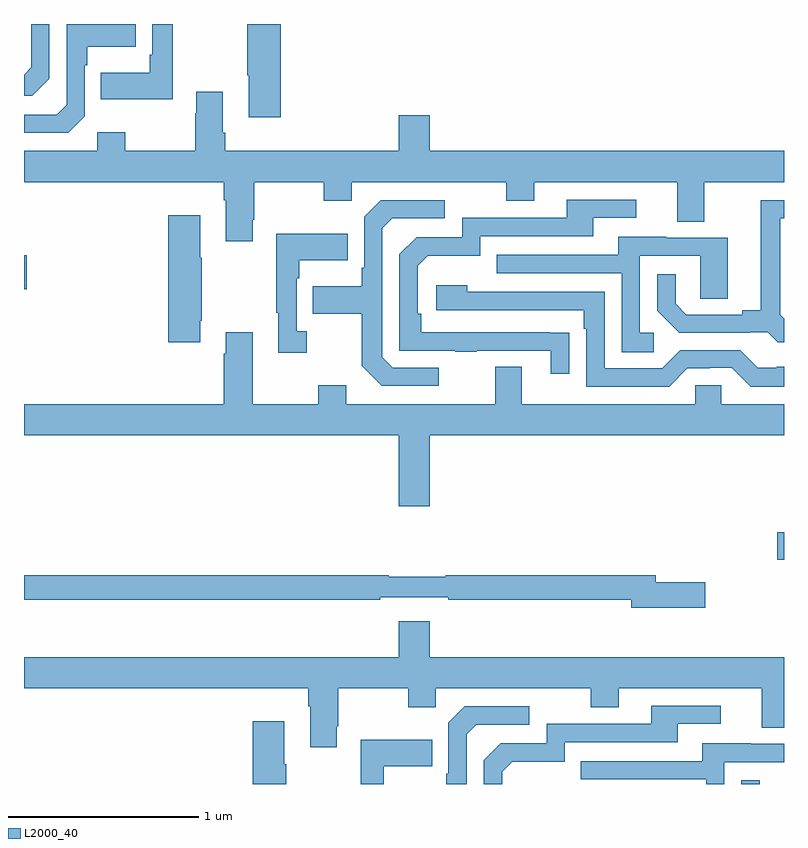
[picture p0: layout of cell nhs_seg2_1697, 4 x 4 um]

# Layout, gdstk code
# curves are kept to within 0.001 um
import gdstk
lib = gdstk.Library(unit=1e-6, precision=1e-09)
def R(c, l, rs):  # rectangles x0, y0, x1, y1
    for r in rs: c.add(gdstk.rectangle(r[:2], r[2:], *l))
def P(c, l, *ps):  # polygons
    for p in ps: c.add(gdstk.Polygon(p, *l))
L2000_40 = (2000, 40)

nhs_seg2_1697 = lib.new_cell('nhs_seg2_1697')
R(nhs_seg2_1697, L2000_40, [(202.776,645.8,202.873,645.82), (202.965,646.979,203,647.126), (199,648.404,199.015,648.582)])
P(nhs_seg2_1697, L2000_40, [(200.351,649.8),(200.176,649.8),(200.176,649.531),(200.183,649.531),(200.183,649.308),(200.351,649.308)],
  [(199.32,649.314),(199.32,649.583),(199.333,649.583),(199.333,649.679),(199.589,649.679),(199.589,649.8),(199.224,649.8),(199.224,649.374),(199.173,649.323),(199,649.323),(199,649.227),(199.233,649.227)],
  [(199.783,649.8),(199.674,649.8),(199.674,649.639),(199.662,649.639),(199.662,649.543),(199.405,649.543),(199.405,649.403),(199.783,649.403)],
  [(199.134,649.512),(199.134,649.8),(199.038,649.8),(199.038,649.572),(199,649.534),(199,649.422),(199.044,649.422)],
  [(200.203,648.769),(200.211,648.769),(200.211,648.968),(200.578,648.968),(200.578,648.869),(200.724,648.869),(200.724,648.968),(201.538,648.968),(201.538,648.869),(201.685,648.869),(201.685,648.968),(202.439,648.968),(202.439,648.76),(202.579,648.76),(202.579,648.968),(203,648.968),(203,649.132),(201.136,649.132),(201.136,649.321),(200.972,649.321),(200.972,649.132),(200.06,649.132),(200.06,649.228),(200.047,649.228),(200.047,649.444),(199.907,649.444),(199.907,649.331),(199.9,649.331),(199.9,649.132),(199.533,649.132),(199.533,649.231),(199.386,649.231),(199.386,649.132),(199,649.132),(199,648.968),(200.051,648.968),(200.051,648.872),(200.063,648.872),(200.063,648.657),(200.203,648.657)],
  [(201.869,648.176),(201.092,648.177),(201.092,648.274),(201.072,648.274),(201.072,648.528),(201.125,648.581),(201.402,648.581),(201.402,648.684),(201.997,648.684),(201.997,648.78),(202.222,648.78),(202.222,648.876),(201.857,648.876),(201.857,648.78),(201.306,648.78),(201.306,648.678),(201.066,648.678),(200.976,648.588),(200.976,648.081),(201.271,648.081),(201.271,648.076),(201.383,648.076),(201.383,648.081),(201.773,648.081),(201.773,647.958),(201.869,647.958)],
  [(201.184,647.991),(200.94,647.991),(200.886,648.045),(200.886,648.726),(200.937,648.777),(201.214,648.777),(201.214,648.873),(200.877,648.873),(200.79,648.786),(200.79,648.517),(200.778,648.517),(200.778,648.421),(200.521,648.421),(200.521,648.274),(200.778,648.274),(200.778,648.001),(200.883,647.895),(201.184,647.895)],
  [(203,648.25),(202.981,648.269),(202.981,648.777),(203,648.777),(203,648.873),(202.877,648.873),(202.877,648.293),(202.781,648.293),(202.781,648.27),(202.486,648.27),(202.429,648.327),(202.429,648.484),(202.332,648.484),(202.332,648.29),(202.448,648.174),(202.82,648.174),(202.82,648.177),(202.914,648.177),(202.966,648.125),(203,648.125)],
  [(199.927,648.238),(199.935,648.238),(199.935,648.569),(199.927,648.569),(199.927,648.793),(199.76,648.793),(199.76,648.126),(199.927,648.126)],
  [(200.488,648.182),(200.436,648.182),(200.436,648.461),(200.449,648.461),(200.449,648.557),(200.705,648.557),(200.705,648.697),(200.328,648.697),(200.328,648.281),(200.339,648.281),(200.339,648.069),(200.488,648.069)],
  [(202.315,648.174),(202.242,648.174),(202.242,648.579),(202.56,648.579),(202.56,648.355),(202.705,648.355),(202.705,648.675),(202.381,648.675),(202.381,648.679),(202.127,648.679),(202.127,648.585),(201.487,648.585),(201.487,648.489),(202.146,648.489),(202.146,648.073),(202.315,648.073)],
  [(203,647.995),(202.963,647.995),(202.963,647.991),(202.863,647.991),(202.77,648.084),(202.455,648.084),(202.359,647.988),(202.056,647.988),(202.056,648.39),(201.332,648.39),(201.332,648.424),(201.171,648.424),(201.171,648.294),(201.947,648.294),(201.947,648.197),(201.96,648.197),(201.96,647.892),(202.395,647.892),(202.491,647.988),(202.61,647.988),(202.61,647.991),(202.725,647.991),(202.825,647.891),(203,647.891)],
  [(202.533,647.898),(202.533,647.8),(201.619,647.8),(201.619,647.995),(201.479,647.995),(201.479,647.8),(200.695,647.8),(200.695,647.899),(200.548,647.899),(200.548,647.8),(200.203,647.8),(200.203,648.178),(200.063,648.178),(200.063,648.065),(200.051,648.065),(200.051,647.8),(199,647.8),(199,647.636),(200.972,647.636),(200.972,647.262),(201.136,647.262),(201.136,647.636),(203,647.636),(203,647.8),(202.671,647.8),(202.671,647.898)],
  [(202.585,646.862),(202.324,646.862),(202.324,646.898),(201.22,646.898),(201.22,646.891),(200.92,646.891),(200.92,646.898),(199,646.898),(199,646.77),(200.876,646.77),(200.876,646.782),(201.232,646.782),(201.232,646.77),(202.196,646.77),(202.196,646.727),(202.585,646.727)],
  [(201.136,646.657),(200.972,646.657),(200.972,646.468),(199,646.468),(199,646.304),(200.495,646.304),(200.495,646.208),(200.507,646.208),(200.507,645.993),(200.647,645.993),(200.647,646.105),(200.655,646.105),(200.655,646.304),(201.022,646.304),(201.022,646.205),(201.168,646.205),(201.168,646.304),(201.982,646.304),(201.982,646.205),(202.129,646.205),(202.129,646.304),(202.883,646.304),(202.883,646.096),(203,646.096),(203,646.468),(201.136,646.468)],
  [(201.516,645.864),(201.569,645.917),(201.846,645.917),(201.846,646.02),(202.441,646.02),(202.441,646.116),(202.666,646.116),(202.666,646.212),(202.301,646.212),(202.301,646.116),(201.75,646.116),(201.75,646.014),(201.51,646.014),(201.42,645.924),(201.42,645.8),(201.516,645.8)],
  [(201.33,646.062),(201.381,646.113),(201.658,646.113),(201.658,646.209),(201.321,646.209),(201.234,646.122),(201.234,645.853),(201.222,645.853),(201.222,645.8),(201.33,645.8)],
  [(200.379,645.905),(200.371,645.905),(200.371,646.129),(200.204,646.129),(200.204,645.8),(200.379,645.8)],
  [(200.893,645.893),(201.149,645.893),(201.149,646.033),(200.772,646.033),(200.772,645.8),(200.893,645.8)],
  [(202.686,645.915),(203,645.915),(203,646.011),(202.825,646.011),(202.825,646.015),(202.571,646.015),(202.571,645.921),(201.931,645.921),(201.931,645.825),(202.59,645.825),(202.59,645.8),(202.686,645.8)])

lib.write_gds('nhs_seg2_1697.gds')
